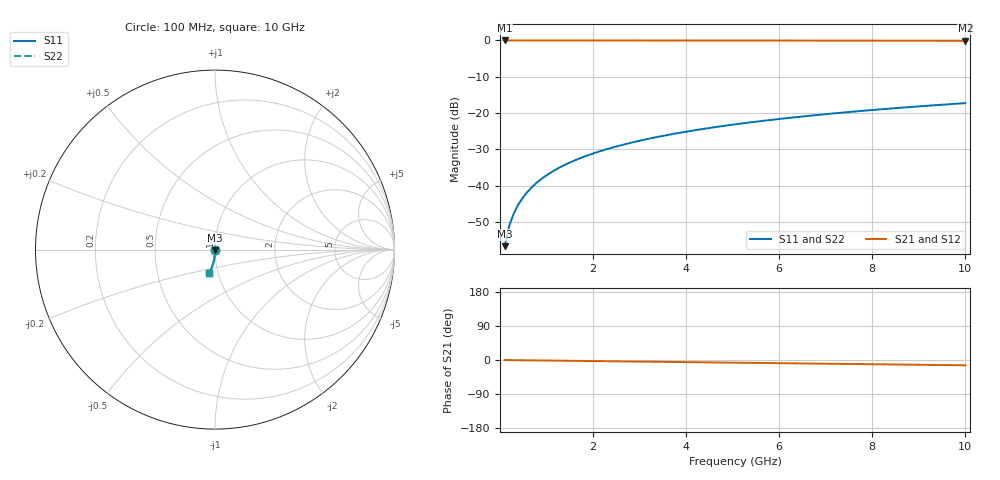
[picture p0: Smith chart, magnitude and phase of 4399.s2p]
# Hz S RI R 50.00
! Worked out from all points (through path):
!   100 points, 100 MHz to 10 GHz, reference 50 ohm
!   highest |S21| = 0.00 dB at 100 MHz (marker M1); lowest = -0.1 dB at 10 GHz (marker M2)
!   group delay of S21, straight-line fit = 3.88 ps
!   lowest |S11| = -56.7 dB at 100 MHz (marker M3), VSWR 1.00, Z = 50 - j0.139 ohm
!   |S11| at or under -10 dB: start of sweep to end of sweep
!   |S22| runs from -56.7 to -17.3 dB; largest |S21 - S12| = 0
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1e8  0.000471 -0.00139  0.9995 -0.00244  0.9995 -0.00244  0.000471 -0.00139
2e8  0.000463 -0.00277  0.9995 -0.00489  0.9995 -0.00489  0.000463 -0.00277
3e8  0.000446 -0.00416  0.9995 -0.00733  0.9995 -0.00733  0.000446 -0.00416
4e8  0.000423 -0.00554  0.9994 -0.00977  0.9994 -0.00977  0.000423 -0.00554
5e8  0.000392 -0.00693  0.9994 -0.0122  0.9994 -0.0122  0.000392 -0.00693
6e8  0.000354 -0.00831  0.9994 -0.0147  0.9994 -0.0147  0.000354 -0.00831
7e8  0.00031 -0.0097  0.9993 -0.0171  0.9993 -0.0171  0.00031 -0.0097
8e8  0.000259 -0.0111  0.9992 -0.0195  0.9992 -0.0195  0.000259 -0.0111
9e8  0.0002 -0.0125  0.9992 -0.022  0.9992 -0.022  0.0002 -0.0125
1.1e9  6.36e-05 -0.0152  0.999 -0.0269  0.999 -0.0269  6.36e-05 -0.0152
1.4e9  -0.000193 -0.0194  0.9987 -0.0342  0.9987 -0.0342  -0.000193 -0.0194
1.8e9  -0.00063 -0.0249  0.9982 -0.0439  0.9982 -0.0439  -0.00063 -0.0249
2.1e9  -0.00103 -0.0291  0.9977 -0.0513  0.9977 -0.0513  -0.00103 -0.0291
2.5e9  -0.00165 -0.0346  0.997 -0.061  0.997 -0.061  -0.00165 -0.0346
2.9e9  -0.00239 -0.0401  0.9961 -0.0707  0.9961 -0.0707  -0.00239 -0.0401
3.4e9  -0.00346 -0.0469  0.9949 -0.0829  0.9949 -0.0829  -0.00346 -0.0469
4.2e9  -0.00551 -0.0578  0.9925 -0.1022  0.9925 -0.1022  -0.00551 -0.0578
5.1e9  -0.00833 -0.0699  0.9892 -0.1239  0.9892 -0.1239  -0.00833 -0.0699
5.9e9  -0.0113 -0.0806  0.9857 -0.1431  0.9857 -0.1431  -0.0113 -0.0806
6.7e9  -0.0146 -0.0912  0.9818 -0.1621  0.9818 -0.1621  -0.0146 -0.0912
8.4e9  -0.0231 -0.113  0.9718 -0.2021  0.9718 -0.2021  -0.0231 -0.113
1e10  -0.0327 -0.1329  0.9606 -0.239  0.9606 -0.239  -0.0327 -0.1329
